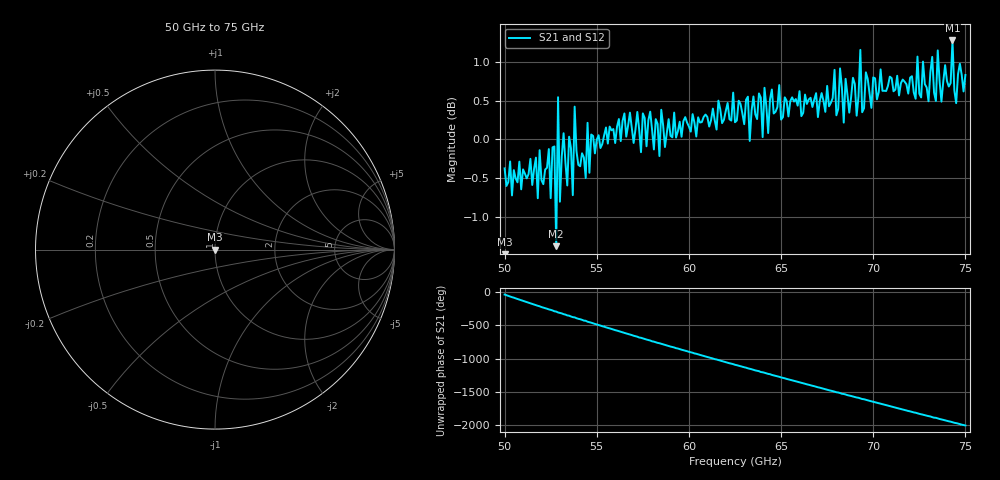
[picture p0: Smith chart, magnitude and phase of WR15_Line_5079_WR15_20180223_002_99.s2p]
# GHZ S RI R 50
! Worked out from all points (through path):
!   251 points, 50 GHz to 75 GHz, reference 50 ohm
!   highest |S21| = 1.28 dB at 74.3 GHz (marker M1); lowest = -1.4 dB at 52.8 GHz (marker M2)
!   lowest |S11| = - dB at 50 GHz (marker M3), VSWR 1.00, Z = 50 - j9.04e-16 ohm
!   |S11| at or under -10 dB: start of sweep to end of sweep
!   |S22| runs from - to - dB; largest |S21 - S12| = 1e-14
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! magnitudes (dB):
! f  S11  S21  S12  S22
! 50 GHz  -  -0.4  -0.4  -
! 52.4 GHz  -  -0.1  -0.1  -
! 52.5 GHz  -  -0.8  -0.8  -
! 52.7 GHz  -  -0.1  -0.1  -
! 52.8 GHz  -  -1.4  -1.4  -
! 52.9 GHz  -  0.5  0.5  -
! 53 GHz  -  -0.8  -0.8  -
! 53.2 GHz  -  0.1  0.1  -
! 53.7 GHz  -  -0.7  -0.7  -
! 53.8 GHz  -  0.4  0.4  -
! 54.2 GHz  -  -0.2  -0.2  -
! 58.4 GHz  -  -0.2  -0.2  -
! 58.5 GHz  -  0.4  0.4  -
! 62.5 GHz  -  0.2  0.2  -
! 66.7 GHz  -  0.4  0.4  -
! 70.9 GHz  -  0.8  0.8  -
! 73.4 GHz  -  0.5  0.5  -
! 73.5 GHz  -  1.1  1.1  -
! 73.7 GHz  -  0.5  0.5  -
! 74.3 GHz  -  1.3  1.3  -
! 74.5 GHz  -  0.5  0.5  -
! 75 GHz  -  0.8  0.8  -
